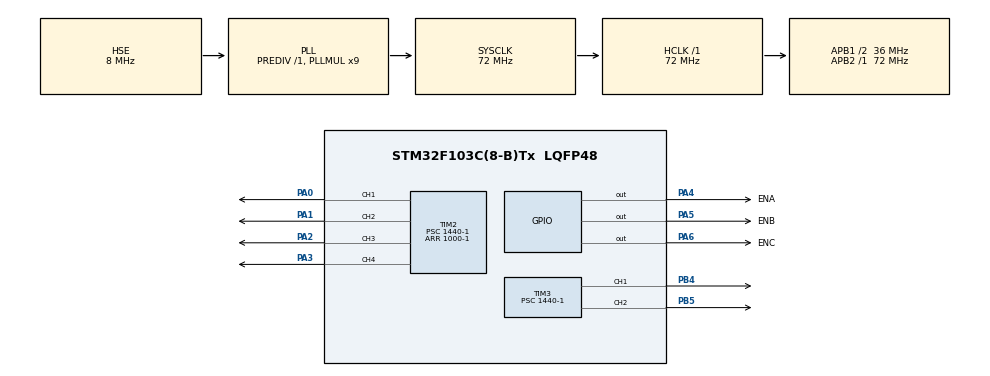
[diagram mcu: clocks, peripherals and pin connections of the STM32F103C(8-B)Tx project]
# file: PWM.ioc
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Mcu.Family=STM32F1
Mcu.Name=STM32F103C(8-B)Tx
Mcu.Package=LQFP48
NVIC.PriorityGroup=NVIC_PRIORITYGROUP_4
NVIC.TIM1_UP_IRQn=true\:15\:0\:false\:false\:true\:false\:true\:true
NVIC.TimeBase=TIM1_UP_IRQn
NVIC.TimeBaseIP=TIM1
PA0-WKUP.Signal=S_TIM2_CH1_ETR
PA1.Signal=S_TIM2_CH2
PA13.Mode=Serial_Wire
PA13.Signal=SYS_JTMS-SWDIO
PA14.Mode=Serial_Wire
PA14.Signal=SYS_JTCK-SWCLK
PA2.Signal=S_TIM2_CH3
PA3.Signal=S_TIM2_CH4
PA4.GPIO_Label=ENA
PA4.Signal=GPIO_Output
PA5.GPIO_Label=ENB
PA5.Signal=GPIO_Output
PA6.GPIO_Label=ENC
PA6.Signal=GPIO_Output
PB4.Signal=S_TIM3_CH1
PB5.Signal=S_TIM3_CH2
PD0-OSC_IN.Mode=HSE-External-Oscillator
PD0-OSC_IN.Signal=RCC_OSC_IN
PD1-OSC_OUT.Mode=HSE-External-Oscillator
PD1-OSC_OUT.Signal=RCC_OSC_OUT
ProjectManager.HeapSize=0x200
ProjectManager.StackSize=0x400
ProjectManager.TargetToolchain=STM32CubeIDE
RCC.AHBFreq_Value=72000000
RCC.APB1CLKDivider=RCC_HCLK_DIV2
RCC.APB1Freq_Value=36000000
RCC.APB1TimFreq_Value=72000000
RCC.APB2Freq_Value=72000000
RCC.APB2TimFreq_Value=72000000
RCC.HCLKFreq_Value=72000000
RCC.PLLMUL=RCC_PLL_MUL9
RCC.PLLSourceVirtual=RCC_PLLSOURCE_HSE
RCC.SYSCLKFreq_VALUE=72000000
RCC.SYSCLKSource=RCC_SYSCLKSOURCE_PLLCLK
RCC.USBFreq_Value=72000000
SH.S_TIM2_CH1_ETR.0=TIM2_CH1,PWM Generation1 CH1
SH.S_TIM2_CH2.0=TIM2_CH2,PWM Generation2 CH2
SH.S_TIM2_CH3.0=TIM2_CH3,PWM Generation3 CH3
SH.S_TIM2_CH4.0=TIM2_CH4,PWM Generation4 CH4
SH.S_TIM3_CH1.0=TIM3_CH1,PWM Generation1 CH1
SH.S_TIM3_CH2.0=TIM3_CH2,PWM Generation2 CH2
TIM2.Channel-PWM\ Generation1\ CH1=TIM_CHANNEL_1
TIM2.Channel-PWM\ Generation2\ CH2=TIM_CHANNEL_2
TIM2.Channel-PWM\ Generation3\ CH3=TIM_CHANNEL_3
TIM2.Channel-PWM\ Generation4\ CH4=TIM_CHANNEL_4
TIM2.Period=1000-1
TIM2.Prescaler=1440-1
TIM3.Channel-PWM\ Generation1\ CH1=TIM_CHANNEL_1
TIM3.Channel-PWM\ Generation2\ CH2=TIM_CHANNEL_2
TIM3.Prescaler=1440-1
VP_SYS_VS_tim1.Mode=TIM1
board=custom

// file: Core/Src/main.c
/* USER CODE BEGIN Header */
/**
  ******************************************************************************
  * @file           : main.c
  * @brief          : Main program body
  ******************************************************************************
  * @attention
  *
  * Copyright (c) 2024 STMicroelectronics.
  * All rights reserved.
  *
  * This software is licensed under terms that can be found in the LICENSE file
  * in the root directory of this software component.
  * If no LICENSE file comes with this software, it is provided AS-IS.
  *
  ******************************************************************************
  */
/* USER CODE END Header */
#include "main.h"

/* USER CODE BEGIN Includes */
#include "stdlib.h"
/* USER CODE END Includes */

TIM_HandleTypeDef htim2;
TIM_HandleTypeDef htim3;

/* USER CODE BEGIN PV */
int16_t left_speed, right_speed;
uint16_t motor_speed = 1;
uint8_t enable;
/* USER CODE END PV */

void SystemClock_Config(void);
static void MX_GPIO_Init(void);
static void MX_TIM2_Init(void);
static void MX_TIM3_Init(void);

/* USER CODE BEGIN 0 */
void motor_run(int16_t left_speed, int16_t right_speed)
{
	if(left_speed > 0)
	{
		// phase 1
		  HAL_GPIO_WritePin(ENA_GPIO_Port, ENA_Pin, 1);
		  __HAL_TIM_SET_COMPARE(&htim2, TIM_CHANNEL_1, 0);

		  HAL_GPIO_WritePin(ENB_GPIO_Port, ENB_Pin, 0);
		  __HAL_TIM_SET_COMPARE(&htim2, TIM_CHANNEL_2, 0);

		  HAL_GPIO_WritePin(ENC_GPIO_Port, ENC_Pin, 1);
		  __HAL_TIM_SET_COMPARE(&htim2, TIM_CHANNEL_3, left_speed);

		  HAL_Delay(motor_speed);

		  // phase 2
		  HAL_GPIO_WritePin(ENA_GPIO_Port, ENA_Pin, 1);
		  __HAL_TIM_SET_COMPARE(&htim2, TIM_CHANNEL_1, 0);

		  HAL_GPIO_WritePin(ENB_GPIO_Port, ENB_Pin, 1);
		  __HAL_TIM_SET_COMPARE(&htim2, TIM_CHANNEL_2, left_speed);

		  HAL_GPIO_WritePin(ENC_GPIO_Port, ENC_Pin, 0);
		  __HAL_TIM_SET_COMPARE(&htim2, TIM_CHANNEL_3, 0);

		  HAL_Delay(motor_speed);

		  // phase 3
		  HAL_GPIO_WritePin(ENA_GPIO_Port, ENA_Pin, 0);
		  __HAL_TIM_SET_COMPARE(&htim2, TIM_CHANNEL_1, 0);

		  HAL_GPIO_WritePin(ENB_GPIO_Port, ENB_Pin, 1);
		  __HAL_TIM_SET_COMPARE(&htim2, TIM_CHANNEL_2, left_speed);

		  HAL_GPIO_WritePin(ENC_GPIO_Port, ENC_Pin, 1);
		  __HAL_TIM_SET_COMPARE(&htim2, TIM_CHANNEL_3, 0);

		  HAL_Delay(motor_speed);

		  // phase 4
		  HAL_GPIO_WritePin(ENA_GPIO_Port, ENA_Pin, 1);
		  __HAL_TIM_SET_COMPARE(&htim2, TIM_CHANNEL_1, left_speed);

		  HAL_GPIO_WritePin(ENB_GPIO_Port, ENB_Pin, 0);
		  __HAL_TIM_SET_COMPARE(&htim2, TIM_CHANNEL_2, 0);

		  HAL_GPIO_WritePin(ENC_GPIO_Port, ENC_Pin, 1);
		  __HAL_TIM_SET_COMPARE(&htim2, TIM_CHANNEL_3, 0);

		  HAL_Delay(motor_speed);

		  // phase 5
		  HAL_GPIO_WritePin(ENA_GPIO_Port, ENA_Pin, 1);
		  __HAL_TIM_SET_COMPARE(&htim2, TIM_CHANNEL_1, left_speed);

		  HAL_GPIO_WritePin(ENB_GPIO_Port, ENB_Pin, 1);
		  __HAL_TIM_SET_COMPARE(&htim2, TIM_CHANNEL_2, 0);

		  HAL_GPIO_WritePin(ENC_GPIO_Port, ENC_Pin, 0);
		  __HAL_TIM_SET_COMPARE(&htim2, TIM_CHANNEL_3, 0);

		  HAL_Delay(motor_speed);

		  // phase 6
		  HAL_GPIO_WritePin(ENA_GPIO_Port, ENA_Pin, 0);
		  __HAL_TIM_SET_COMPARE(&htim2, TIM_CHANNEL_1, 0);

		  HAL_GPIO_WritePin(ENB_GPIO_Port, ENB_Pin, 1);
		  __HAL_TIM_SET_COMPARE(&htim2, TIM_CHANNEL_2, 0);

		  HAL_GPIO_WritePin(ENC_GPIO_Port, ENC_Pin, 1);
		  __HAL_TIM_SET_COMPARE(&htim2, TIM_CHANNEL_3, left_speed);

		  HAL_Delay(motor_speed);
	}
	else if(left_speed < 0)
	{
		  // phase 6
		  HAL_GPIO_WritePin(ENA_GPIO_Port, ENA_Pin, 0);
		  __HAL_TIM_SET_COMPARE(&htim2, TIM_CHANNEL_1, 0);

		  HAL_GPIO_WritePin(ENB_GPIO_Port, ENB_Pin, 1);
		  __HAL_TIM_SET_COMPARE(&htim2, TIM_CHANNEL_2, 0);

		  HAL_GPIO_WritePin(ENC_GPIO_Port, ENC_Pin, 1);
		  __HAL_TIM_SET_COMPARE(&htim2, TIM_CHANNEL_3, abs(left_speed));

		  HAL_Delay(motor_speed);

		  // phase 5
		  HAL_GPIO_WritePin(ENA_GPIO_Port, ENA_Pin, 1);
		  __HAL_TIM_SET_COMPARE(&htim2, TIM_CHANNEL_1, abs(left_speed));

		  HAL_GPIO_WritePin(ENB_GPIO_Port, ENB_Pin, 1);
		  __HAL_TIM_SET_COMPARE(&htim2, TIM_CHANNEL_2, 0);

		  HAL_GPIO_WritePin(ENC_GPIO_Port, ENC_Pin, 0);
		  __HAL_TIM_SET_COMPARE(&htim2, TIM_CHANNEL_3, 0);

		  HAL_Delay(motor_speed);

		  // phase 4
		  HAL_GPIO_WritePin(ENA_GPIO_Port, ENA_Pin, 1);
		  __HAL_TIM_SET_COMPARE(&htim2, TIM_CHANNEL_1, abs(left_speed));

		  HAL_GPIO_WritePin(ENB_GPIO_Port, ENB_Pin, 0);
		  __HAL_TIM_SET_COMPARE(&htim2, TIM_CHANNEL_2, 0);

		  HAL_GPIO_WritePin(ENC_GPIO_Port, ENC_Pin, 1);
		  __HAL_TIM_SET_COMPARE(&htim2, TIM_CHANNEL_3, 0);

		  HAL_Delay(motor_speed);

		  // phase 3
		  HAL_GPIO_WritePin(ENA_GPIO_Port, ENA_Pin, 0);
		  __HAL_TIM_SET_COMPARE(&htim2, TIM_CHANNEL_1, 0);

		  HAL_GPIO_WritePin(ENB_GPIO_Port, ENB_Pin, 1);
		  __HAL_TIM_SET_COMPARE(&htim2, TIM_CHANNEL_2, abs(left_speed));

		  HAL_GPIO_WritePin(ENC_GPIO_Port, ENC_Pin, 1);
		  __HAL_TIM_SET_COMPARE(&htim2, TIM_CHANNEL_3, 0);

		  HAL_Delay(motor_speed);

		  // phase 2
		  HAL_GPIO_WritePin(ENA_GPIO_Port, ENA_Pin, 1);
		  __HAL_TIM_SET_COMPARE(&htim2, TIM_CHANNEL_1, 0);

		  HAL_GPIO_WritePin(ENB_GPIO_Port, ENB_Pin, 1);
		  __HAL_TIM_SET_COMPARE(&htim2, TIM_CHANNEL_2, abs(left_speed));

		  HAL_GPIO_WritePin(ENC_GPIO_Port, ENC_Pin, 0);
		  __HAL_TIM_SET_COMPARE(&htim2, TIM_CHANNEL_3, 0);

		  HAL_Delay(motor_speed);

		  // phase 1
		  HAL_GPIO_WritePin(ENA_GPIO_Port, ENA_Pin, 1);
		  __HAL_TIM_SET_COMPARE(&htim2, TIM_CHANNEL_1, abs(left_speed));

		  HAL_GPIO_WritePin(ENB_GPIO_Port, ENB_Pin, 0);
		  __HAL_TIM_SET_COMPARE(&htim2, TIM_CHANNEL_2, 0);

		  HAL_GPIO_WritePin(ENC_GPIO_Port, ENC_Pin, 1);
		  __HAL_TIM_SET_COMPARE(&htim2, TIM_CHANNEL_3, 0);

		  HAL_Delay(motor_speed);
	}
	else
	{
		  HAL_GPIO_WritePin(ENA_GPIO_Port, ENA_Pin, 0);
		  __HAL_TIM_SET_COMPARE(&htim2, TIM_CHANNEL_1, 0);

		  HAL_GPIO_WritePin(ENB_GPIO_Port, ENB_Pin, 0);
		  __HAL_TIM_SET_COMPARE(&htim2, TIM_CHANNEL_2, 0);

		  HAL_GPIO_WritePin(ENC_GPIO_Port, ENC_Pin, 0);
		  __HAL_TIM_SET_COMPARE(&htim2, TIM_CHANNEL_3, 0);
	}

	if(right_speed > 0)
	{
		// phase 1
		  HAL_GPIO_WritePin(ENA_GPIO_Port, ENA_Pin, 1);
		  __HAL_TIM_SET_COMPARE(&htim2, TIM_CHANNEL_4, 0);

		  HAL_GPIO_WritePin(ENB_GPIO_Port, ENB_Pin, 0);
		  __HAL_TIM_SET_COMPARE(&htim3, TIM_CHANNEL_1, 0);

		  HAL_GPIO_WritePin(ENC_GPIO_Port, ENC_Pin, 1);
		  __HAL_TIM_SET_COMPARE(&htim3, TIM_CHANNEL_2, right_speed);

		  HAL_Delay(motor_speed);

		  // phase 2
		  HAL_GPIO_WritePin(ENA_GPIO_Port, ENA_Pin, 1);
		  __HAL_TIM_SET_COMPARE(&htim2, TIM_CHANNEL_4, 0);

		  HAL_GPIO_WritePin(ENB_GPIO_Port, ENB_Pin, 1);
		  __HAL_TIM_SET_COMPARE(&htim3, TIM_CHANNEL_1, right_speed);

		  HAL_GPIO_WritePin(ENC_GPIO_Port, ENC_Pin, 0);
		  __HAL_TIM_SET_COMPARE(&htim3, TIM_CHANNEL_2, 0);

		  HAL_Delay(motor_speed);

		  // phase 3
		  HAL_GPIO_WritePin(ENA_GPIO_Port, ENA_Pin, 0);
		  __HAL_TIM_SET_COMPARE(&htim2, TIM_CHANNEL_4, 0);

		  HAL_GPIO_WritePin(ENB_GPIO_Port, ENB_Pin, 1);
		  __HAL_TIM_SET_COMPARE(&htim3, TIM_CHANNEL_1, right_speed);

		  HAL_GPIO_WritePin(ENC_GPIO_Port, ENC_Pin, 1);
		  __HAL_TIM_SET_COMPARE(&htim3, TIM_CHANNEL_2, 0);

		  HAL_Delay(motor_speed);

		  // phase 4
		  HAL_GPIO_WritePin(ENA_GPIO_Port, ENA_Pin, 1);
		  __HAL_TIM_SET_COMPARE(&htim2, TIM_CHANNEL_4, right_speed);

		  HAL_GPIO_WritePin(ENB_GPIO_Port, ENB_Pin, 0);
		  __HAL_TIM_SET_COMPARE(&htim3, TIM_CHANNEL_1, 0);

		  HAL_GPIO_WritePin(ENC_GPIO_Port, ENC_Pin, 1);
		  __HAL_TIM_SET_COMPARE(&htim3, TIM_CHANNEL_2, 0);

		  HAL_Delay(motor_speed);

		  // phase 5
		  HAL_GPIO_WritePin(ENA_GPIO_Port, ENA_Pin, 1);
		  __HAL_TIM_SET_COMPARE(&htim2, TIM_CHANNEL_4, right_speed);

		  HAL_GPIO_WritePin(ENB_GPIO_Port, ENB_Pin, 1);
		  __HAL_TIM_SET_COMPARE(&htim3, TIM_CHANNEL_1, 0);

		  HAL_GPIO_WritePin(ENC_GPIO_Port, ENC_Pin, 0);
		  __HAL_TIM_SET_COMPARE(&htim3, TIM_CHANNEL_2, 0);

		  HAL_Delay(motor_speed);

		  // phase 6
		  HAL_GPIO_WritePin(ENA_GPIO_Port, ENA_Pin, 0);
		  __HAL_TIM_SET_COMPARE(&htim2, TIM_CHANNEL_4, 0);

		  HAL_GPIO_WritePin(ENB_GPIO_Port, ENB_Pin, 1);
		  __HAL_TIM_SET_COMPARE(&htim3, TIM_CHANNEL_1, 0);

		  HAL_GPIO_WritePin(ENC_GPIO_Port, ENC_Pin, 1);
		  __HAL_TIM_SET_COMPARE(&htim3, TIM_CHANNEL_2, right_speed);

		  HAL_Delay(motor_speed);
	}
	else if(right_speed < 0)
	{
		  // phase 6
		  HAL_GPIO_WritePin(ENA_GPIO_Port, ENA_Pin, 0);
		  __HAL_TIM_SET_COMPARE(&htim2, TIM_CHANNEL_4, 0);

		  HAL_GPIO_WritePin(ENB_GPIO_Port, ENB_Pin, 1);
		  __HAL_TIM_SET_COMPARE(&htim3, TIM_CHANNEL_1, 0);

		  HAL_GPIO_WritePin(ENC_GPIO_Port, ENC_Pin, 1);
		  __HAL_TIM_SET_COMPARE(&htim3, TIM_CHANNEL_2, abs(right_speed));

		  HAL_Delay(motor_speed);

		  // phase 5
		  HAL_GPIO_WritePin(ENA_GPIO_Port, ENA_Pin, 1);
		  __HAL_TIM_SET_COMPARE(&htim2, TIM_CHANNEL_4, abs(right_speed));

		  HAL_GPIO_WritePin(ENB_GPIO_Port, ENB_Pin, 1);
		  __HAL_TIM_SET_COMPARE(&htim3, TIM_CHANNEL_1, 0);

		  HAL_GPIO_WritePin(ENC_GPIO_Port, ENC_Pin, 0);
		  __HAL_TIM_SET_COMPARE(&htim3, TIM_CHANNEL_2, 0);

		  HAL_Delay(motor_speed);

		  // phase 4
		  HAL_GPIO_WritePin(ENA_GPIO_Port, ENA_Pin, 1);
		  __HAL_TIM_SET_COMPARE(&htim2, TIM_CHANNEL_4, abs(right_speed));

		  HAL_GPIO_WritePin(ENB_GPIO_Port, ENB_Pin, 0);
		  __HAL_TIM_SET_COMPARE(&htim3, TIM_CHANNEL_1, 0);

		  HAL_GPIO_WritePin(ENC_GPIO_Port, ENC_Pin, 1);
		  __HAL_TIM_SET_COMPARE(&htim3, TIM_CHANNEL_2, 0);

		  HAL_Delay(motor_speed);

		  // phase 3
		  HAL_GPIO_WritePin(ENA_GPIO_Port, ENA_Pin, 0);
		  __HAL_TIM_SET_COMPARE(&htim2, TIM_CHANNEL_4, 0);

		  HAL_GPIO_WritePin(ENB_GPIO_Port, ENB_Pin, 1);
		  __HAL_TIM_SET_COMPARE(&htim3, TIM_CHANNEL_1, abs(right_speed));

		  HAL_GPIO_WritePin(ENC_GPIO_Port, ENC_Pin, 1);
		  __HAL_TIM_SET_COMPARE(&htim3, TIM_CHANNEL_2, 0);

		  HAL_Delay(motor_speed);

		  // phase 2
		  HAL_GPIO_WritePin(ENA_GPIO_Port, ENA_Pin, 1);
		  __HAL_TIM_SET_COMPARE(&htim2, TIM_CHANNEL_4, 0);

		  HAL_GPIO_WritePin(ENB_GPIO_Port, ENB_Pin, 1);
		  __HAL_TIM_SET_COMPARE(&htim3, TIM_CHANNEL_1, abs(right_speed));

		  HAL_GPIO_WritePin(ENC_GPIO_Port, ENC_Pin, 0);
		  __HAL_TIM_SET_COMPARE(&htim3, TIM_CHANNEL_2, 0);

		  HAL_Delay(motor_speed);

		  // phase 1
		  HAL_GPIO_WritePin(ENA_GPIO_Port, ENA_Pin, 1);
		  __HAL_TIM_SET_COMPARE(&htim2, TIM_CHANNEL_4, abs(right_speed));

		  HAL_GPIO_WritePin(ENB_GPIO_Port, ENB_Pin, 0);
		  __HAL_TIM_SET_COMPARE(&htim3, TIM_CHANNEL_1, 0);

		  HAL_GPIO_WritePin(ENC_GPIO_Port, ENC_Pin, 1);
		  __HAL_TIM_SET_COMPARE(&htim3, TIM_CHANNEL_2, 0);

		  HAL_Delay(motor_speed);
	}
	else
	{
		  HAL_GPIO_WritePin(ENA_GPIO_Port, ENA_Pin, 0);
		  __HAL_TIM_SET_COMPARE(&htim2, TIM_CHANNEL_4, 0);

		  HAL_GPIO_WritePin(ENB_GPIO_Port, ENB_Pin, 0);
		  __HAL_TIM_SET_COMPARE(&htim3, TIM_CHANNEL_1, 0);

		  HAL_GPIO_WritePin(ENC_GPIO_Port, ENC_Pin, 0);
		  __HAL_TIM_SET_COMPARE(&htim3, TIM_CHANNEL_2, 0);
	}
}
/* USER CODE END 0 */

int main(void)
{

  /* MCU Configuration--------------------------------------------------------*/

  /* Reset of all peripherals, Initializes the Flash interface and the Systick. */
  HAL_Init();

  /* Configure the system clock */
  SystemClock_Config();

  /* Initialize all configured peripherals */
  MX_GPIO_Init();
  MX_TIM2_Init();
  MX_TIM3_Init();
  /* USER CODE BEGIN 2 */
  HAL_TIM_PWM_Start(&htim2, TIM_CHANNEL_1);
  HAL_TIM_PWM_Start(&htim2, TIM_CHANNEL_2);
  HAL_TIM_PWM_Start(&htim2, TIM_CHANNEL_3);

  HAL_TIM_PWM_Start(&htim2, TIM_CHANNEL_4);
  HAL_TIM_PWM_Start(&htim3, TIM_CHANNEL_1);
  HAL_TIM_PWM_Start(&htim3, TIM_CHANNEL_2);

  /* USER CODE END 2 */

  /* Infinite loop */
  while (1)
  {

    /* USER CODE BEGIN 3 */

	if(enable)
	{
		motor_run(left_speed, right_speed);
	}
	else
	{
		motor_run(0, 0);
	}
  }
  /* USER CODE END 3 */
}

void SystemClock_Config(void)
{
  RCC_OscInitTypeDef RCC_OscInitStruct = {0};
  RCC_ClkInitTypeDef RCC_ClkInitStruct = {0};

  /** Initializes the RCC Oscillators according to the specified parameters
  * in the RCC_OscInitTypeDef structure.
  */
  RCC_OscInitStruct.OscillatorType = RCC_OSCILLATORTYPE_HSE;
  RCC_OscInitStruct.HSEState = RCC_HSE_ON;
  RCC_OscInitStruct.HSEPredivValue = RCC_HSE_PREDIV_DIV1;
  RCC_OscInitStruct.HSIState = RCC_HSI_ON;
  RCC_OscInitStruct.PLL.PLLState = RCC_PLL_ON;
  RCC_OscInitStruct.PLL.PLLSource = RCC_PLLSOURCE_HSE;
  RCC_OscInitStruct.PLL.PLLMUL = RCC_PLL_MUL9;
  if (HAL_RCC_OscConfig(&RCC_OscInitStruct) != HAL_OK)
  {
    Error_Handler();
  }

  /** Initializes the CPU, AHB and APB buses clocks
  */
  RCC_ClkInitStruct.ClockType = RCC_CLOCKTYPE_HCLK|RCC_CLOCKTYPE_SYSCLK
                              |RCC_CLOCKTYPE_PCLK1|RCC_CLOCKTYPE_PCLK2;
  RCC_ClkInitStruct.SYSCLKSource = RCC_SYSCLKSOURCE_PLLCLK;
  RCC_ClkInitStruct.AHBCLKDivider = RCC_SYSCLK_DIV1;
  RCC_ClkInitStruct.APB1CLKDivider = RCC_HCLK_DIV2;
  RCC_ClkInitStruct.APB2CLKDivider = RCC_HCLK_DIV1;

  if (HAL_RCC_ClockConfig(&RCC_ClkInitStruct, FLASH_LATENCY_2) != HAL_OK)
  {
    Error_Handler();
  }
}

static void MX_TIM2_Init(void)
{

  TIM_MasterConfigTypeDef sMasterConfig = {0};
  TIM_OC_InitTypeDef sConfigOC = {0};

  htim2.Instance = TIM2;
  htim2.Init.Prescaler = 1440-1;
  htim2.Init.CounterMode = TIM_COUNTERMODE_UP;
  htim2.Init.Period = 1000-1;
  htim2.Init.ClockDivision = TIM_CLOCKDIVISION_DIV1;
  htim2.Init.AutoReloadPreload = TIM_AUTORELOAD_PRELOAD_DISABLE;
  if (HAL_TIM_PWM_Init(&htim2) != HAL_OK)
  {
    Error_Handler();
  }
  sMasterConfig.MasterOutputTrigger = TIM_TRGO_RESET;
  sMasterConfig.MasterSlaveMode = TIM_MASTERSLAVEMODE_DISABLE;
  if (HAL_TIMEx_MasterConfigSynchronization(&htim2, &sMasterConfig) != HAL_OK)
  {
    Error_Handler();
  }
  sConfigOC.OCMode = TIM_OCMODE_PWM1;
  sConfigOC.Pulse = 0;
  sConfigOC.OCPolarity = TIM_OCPOLARITY_HIGH;
  sConfigOC.OCFastMode = TIM_OCFAST_DISABLE;
  if (HAL_TIM_PWM_ConfigChannel(&htim2, &sConfigOC, TIM_CHANNEL_1) != HAL_OK)
  {
    Error_Handler();
  }
  if (HAL_TIM_PWM_ConfigChannel(&htim2, &sConfigOC, TIM_CHANNEL_2) != HAL_OK)
  {
    Error_Handler();
  }
  if (HAL_TIM_PWM_ConfigChannel(&htim2, &sConfigOC, TIM_CHANNEL_3) != HAL_OK)
  {
    Error_Handler();
  }
  if (HAL_TIM_PWM_ConfigChannel(&htim2, &sConfigOC, TIM_CHANNEL_4) != HAL_OK)
  {
    Error_Handler();
  }
  HAL_TIM_MspPostInit(&htim2);

}

static void MX_TIM3_Init(void)
{

  TIM_MasterConfigTypeDef sMasterConfig = {0};
  TIM_OC_InitTypeDef sConfigOC = {0};

  htim3.Instance = TIM3;
  htim3.Init.Prescaler = 1440-1;
  htim3.Init.CounterMode = TIM_COUNTERMODE_UP;
  htim3.Init.Period = 65535;
  htim3.Init.ClockDivision = TIM_CLOCKDIVISION_DIV1;
  htim3.Init.AutoReloadPreload = TIM_AUTORELOAD_PRELOAD_DISABLE;
  if (HAL_TIM_PWM_Init(&htim3) != HAL_OK)
  {
    Error_Handler();
  }
  sMasterConfig.MasterOutputTrigger = TIM_TRGO_RESET;
  sMasterConfig.MasterSlaveMode = TIM_MASTERSLAVEMODE_DISABLE;
  if (HAL_TIMEx_MasterConfigSynchronization(&htim3, &sMasterConfig) != HAL_OK)
  {
    Error_Handler();
  }
  sConfigOC.OCMode = TIM_OCMODE_PWM1;
  sConfigOC.Pulse = 0;
  sConfigOC.OCPolarity = TIM_OCPOLARITY_HIGH;
  sConfigOC.OCFastMode = TIM_OCFAST_DISABLE;
  if (HAL_TIM_PWM_ConfigChannel(&htim3, &sConfigOC, TIM_CHANNEL_1) != HAL_OK)
  {
    Error_Handler();
  }
  if (HAL_TIM_PWM_ConfigChannel(&htim3, &sConfigOC, TIM_CHANNEL_2) != HAL_OK)
  {
    Error_Handler();
  }
  HAL_TIM_MspPostInit(&htim3);

}

static void MX_GPIO_Init(void)
{
  GPIO_InitTypeDef GPIO_InitStruct = {0};

  /* GPIO Ports Clock Enable */
  __HAL_RCC_GPIOD_CLK_ENABLE();
  __HAL_RCC_GPIOA_CLK_ENABLE();
  __HAL_RCC_GPIOB_CLK_ENABLE();

  /*Configure GPIO pin Output Level */
  HAL_GPIO_WritePin(GPIOA, ENA_Pin|ENB_Pin|ENC_Pin, GPIO_PIN_RESET);

  /*Configure GPIO pins : ENA_Pin ENB_Pin ENC_Pin */
  GPIO_InitStruct.Pin = ENA_Pin|ENB_Pin|ENC_Pin;
  GPIO_InitStruct.Mode = GPIO_MODE_OUTPUT_PP;
  GPIO_InitStruct.Pull = GPIO_NOPULL;
  GPIO_InitStruct.Speed = GPIO_SPEED_FREQ_LOW;
  HAL_GPIO_Init(GPIOA, &GPIO_InitStruct);

}

void HAL_TIM_PeriodElapsedCallback(TIM_HandleTypeDef *htim)
{
  if (htim->Instance == TIM1) {
    HAL_IncTick();
  }
}

void Error_Handler(void)
{
  __disable_irq();
  while (1)
  {
  }
}
